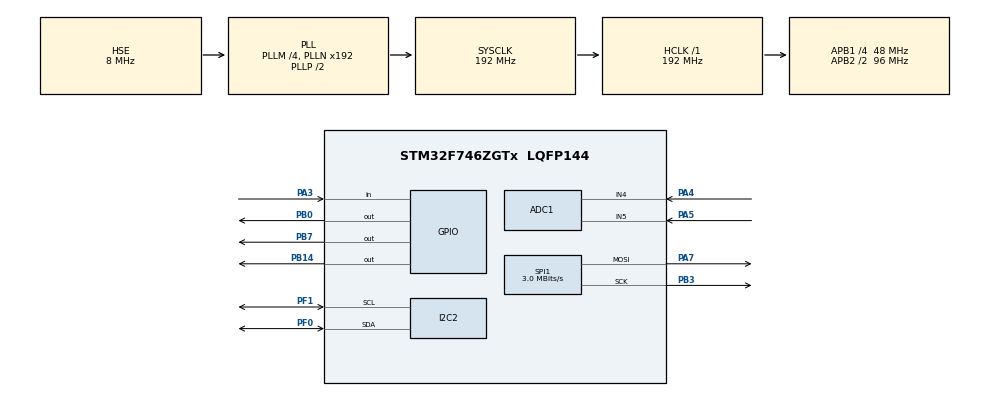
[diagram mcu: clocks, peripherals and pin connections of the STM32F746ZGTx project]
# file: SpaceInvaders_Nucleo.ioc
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ADC1.Channel-6\#ChannelRegularConversion=ADC_CHANNEL_4
ADC1.Channel-7\#ChannelRegularConversion=ADC_CHANNEL_5
ADC1.ClockPrescaler=ADC_CLOCK_SYNC_PCLK_DIV4
ADC1.ContinuousConvMode=ENABLE
ADC1.DMAContinuousRequests=ENABLE
ADC1.NbrOfConversion=2
ADC1.NbrOfConversionFlag=1
ADC1.Rank-6\#ChannelRegularConversion=1
ADC1.Rank-7\#ChannelRegularConversion=2
ADC1.SamplingTime-6\#ChannelRegularConversion=ADC_SAMPLETIME_480CYCLES
ADC1.SamplingTime-7\#ChannelRegularConversion=ADC_SAMPLETIME_480CYCLES
ADC1.ScanConvMode=ADC_SCAN_ENABLE
ADC1.master=1
Dma.ADC1.1.Direction=DMA_PERIPH_TO_MEMORY
Dma.ADC1.1.FIFOMode=DMA_FIFOMODE_DISABLE
Dma.ADC1.1.Instance=DMA2_Stream0
Dma.ADC1.1.MemDataAlignment=DMA_MDATAALIGN_WORD
Dma.ADC1.1.MemInc=DMA_MINC_ENABLE
Dma.ADC1.1.Mode=DMA_CIRCULAR
Dma.ADC1.1.PeriphDataAlignment=DMA_PDATAALIGN_WORD
Dma.ADC1.1.PeriphInc=DMA_PINC_DISABLE
Dma.ADC1.1.Priority=DMA_PRIORITY_LOW
Dma.Request0=SPI1_TX
Dma.Request1=ADC1
Dma.SPI1_TX.0.Direction=DMA_MEMORY_TO_PERIPH
Dma.SPI1_TX.0.FIFOMode=DMA_FIFOMODE_DISABLE
Dma.SPI1_TX.0.Instance=DMA2_Stream3
Dma.SPI1_TX.0.MemDataAlignment=DMA_MDATAALIGN_BYTE
Dma.SPI1_TX.0.MemInc=DMA_MINC_ENABLE
Dma.SPI1_TX.0.Mode=DMA_NORMAL
Dma.SPI1_TX.0.PeriphDataAlignment=DMA_PDATAALIGN_BYTE
Dma.SPI1_TX.0.PeriphInc=DMA_PINC_DISABLE
Dma.SPI1_TX.0.Priority=DMA_PRIORITY_LOW
I2C2.Timing=0x20303E5D
Mcu.Family=STM32F7
Mcu.Name=STM32F746ZGTx
Mcu.Package=LQFP144
NVIC.ADC_IRQn=true\:0\:0\:false\:false\:true\:true\:true
NVIC.DMA2_Stream0_IRQn=true\:0\:0\:false\:false\:true\:false\:true
NVIC.DMA2_Stream3_IRQn=true\:0\:0\:false\:false\:true\:false\:true
NVIC.I2C2_ER_IRQn=true\:0\:0\:false\:false\:true\:true\:true
NVIC.I2C2_EV_IRQn=true\:0\:0\:false\:false\:true\:true\:true
NVIC.PriorityGroup=NVIC_PRIORITYGROUP_4
NVIC.SPI1_IRQn=true\:0\:0\:false\:false\:true\:true\:true
NVIC.TIM1_BRK_TIM9_IRQn=true\:0\:0\:false\:false\:true\:true\:true
NVIC.TIM1_TRG_COM_TIM11_IRQn=true\:0\:0\:false\:false\:true\:true\:true
NVIC.TIM1_UP_TIM10_IRQn=true\:0\:0\:false\:false\:true\:true\:true
NVIC.TIM2_IRQn=true\:0\:0\:false\:false\:true\:true\:true
NVIC.TIM3_IRQn=true\:0\:0\:false\:false\:true\:true\:true
NVIC.TIM4_IRQn=true\:0\:0\:false\:false\:true\:true\:true
NVIC.TIM5_IRQn=true\:0\:0\:false\:false\:true\:true\:true
NVIC.TIM6_DAC_IRQn=true\:0\:0\:false\:false\:true\:true\:true
NVIC.TIM7_IRQn=true\:0\:0\:false\:false\:true\:true\:true
NVIC.TIM8_BRK_TIM12_IRQn=true\:0\:0\:false\:false\:true\:true\:true
NVIC.TIM8_UP_TIM13_IRQn=true\:0\:0\:false\:false\:true\:true\:true
PA13.Mode=Serial_Wire
PA13.Signal=SYS_JTMS-SWDIO
PA14.Mode=Serial_Wire
PA14.Signal=SYS_JTCK-SWCLK
PA3.GPIO_PuPd=GPIO_PULLUP
PA3.Signal=GPIO_Input
PA4.Signal=ADCx_IN4
PA5.Signal=ADCx_IN5
PA7.Mode=TX_Only_Simplex_Unidirect_Master
PA7.Signal=SPI1_MOSI
PB0.Signal=GPIO_Output
PB14.Signal=GPIO_Output
PB3.Mode=TX_Only_Simplex_Unidirect_Master
PB3.Signal=SPI1_SCK
PB7.Signal=GPIO_Output
PF0.Mode=I2C
PF0.Signal=I2C2_SDA
PF1.Mode=I2C
PF1.Signal=I2C2_SCL
PH0/OSC_IN.Mode=HSE-External-Oscillator
PH0/OSC_IN.Signal=RCC_OSC_IN
PH1/OSC_OUT.Mode=HSE-External-Oscillator
PH1/OSC_OUT.Signal=RCC_OSC_OUT
ProjectManager.HeapSize=0x200
ProjectManager.StackSize=0x400
ProjectManager.TargetToolchain=STM32CubeIDE
RCC.AHBFreq_Value=192000000
RCC.APB1CLKDivider=RCC_HCLK_DIV4
RCC.APB1Freq_Value=48000000
RCC.APB1TimFreq_Value=96000000
RCC.APB2CLKDivider=RCC_HCLK_DIV2
RCC.APB2Freq_Value=96000000
RCC.APB2TimFreq_Value=192000000
RCC.CortexFreq_Value=192000000
RCC.HCLKFreq_Value=192000000
RCC.HSE_VALUE=8000000
RCC.HSI_VALUE=16000000
RCC.LSE_VALUE=32768
RCC.PLLM=4
RCC.PLLSourceVirtual=RCC_PLLSOURCE_HSE
RCC.SYSCLKFreq_VALUE=192000000
RCC.SYSCLKSource=RCC_SYSCLKSOURCE_PLLCLK
RCC.USBFreq_Value=192000000
RCC.VCOOutputFreq_Value=384000000
SH.ADCx_IN4.0=ADC1_IN4,IN4
SH.ADCx_IN5.0=ADC1_IN5,IN5
SPI1.BaudRatePrescaler=SPI_BAUDRATEPRESCALER_32
SPI1.CalculateBaudRate=3.0 MBits/s
SPI1.DataSize=SPI_DATASIZE_8BIT
SPI1.Direction=SPI_DIRECTION_2LINES
SPI1.Mode=SPI_MODE_MASTER
SPI1.NSSPMode=SPI_NSS_PULSE_DISABLE
SPI1.VirtualType=VM_MASTER
TIM10.Period=1199
TIM10.Prescaler=9599
TIM11.Period=2599
TIM11.Prescaler=9599
TIM12.Period=6000
TIM12.Prescaler=9599
TIM13.Period=1099
TIM13.Prescaler=9599
TIM2.Period=5499
TIM2.Prescaler=9599
TIM3.Period=39
TIM3.Prescaler=9599
TIM4.Period=2599
TIM4.Prescaler=9599
TIM5.Period=1899
TIM5.Prescaler=9599
TIM6.Period=999
TIM6.Prescaler=9599
TIM7.Period=4799
TIM7.Prescaler=9599
TIM8.Period=18999
TIM8.Prescaler=9599
TIM9.Period=2099
TIM9.Prescaler=9599
VP_TIM10_VS_ClockSourceINT.Mode=Enable_Timer
VP_TIM11_VS_ClockSourceINT.Mode=Enable_Timer
VP_TIM12_VS_ClockSourceINT.Mode=Internal
VP_TIM13_VS_ClockSourceINT.Mode=Enable_Timer
VP_TIM2_VS_ClockSourceINT.Mode=Internal
VP_TIM3_VS_ClockSourceINT.Mode=Internal
VP_TIM4_VS_ClockSourceINT.Mode=Internal
VP_TIM5_VS_ClockSourceINT.Mode=Internal
VP_TIM6_VS_ClockSourceINT.Mode=Enable_Timer
VP_TIM7_VS_ClockSourceINT.Mode=Enable_Timer
VP_TIM8_VS_ClockSourceINT.Mode=Internal
VP_TIM9_VS_ClockSourceINT.Mode=Internal
board=custom

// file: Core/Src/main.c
/* USER CODE BEGIN Header */
/**
 ******************************************************************************
 * @file           : main.c
 * @brief          : Main program body
 ******************************************************************************
 * @attention
 *
 * <h2><center>&copy; Copyright (c) 2020 STMicroelectronics.
 * All rights reserved.</center></h2>
 *
 * This software component is licensed by ST under BSD 3-Clause license,
 * the "License"; You may not use this file except in compliance with the
 * License. You may obtain a copy of the License at:
 *                        opensource.org/licenses/BSD-3-Clause
 *
 ******************************************************************************
 */
/* USER CODE END Header */

#include "main.h"

/* USER CODE BEGIN Includes */
#include "i2c-lcd.h"
#include "lcdchars.h"
#include "lcdcommands.h"
#include "intro.h"
#include "loading.h"
#include "joystick.h"
#include "Menu.h"
#include "stdbool.h"
#include <stdlib.h>
#include <string.h>
#include "ws2812b.h"
#include "spi.h"
#include "dma.h"
#include <time.h>
#include <stdio.h>
#include <stdlib.h>
#include "playerControl.h"
#include "diode.h"
#include "GlobalDefines.h"
#include "playerShootingControl.h"
#include "enemyShootingControl.h"
#include "enemyControl.h"
#include "objectRefresh.h"
#include "game.h"
#include "LCDgameService.h"
#include "gameOver.h"
/* USER CODE END Includes */

ADC_HandleTypeDef hadc1;
DMA_HandleTypeDef hdma_adc1;

I2C_HandleTypeDef hi2c2;

SPI_HandleTypeDef hspi1;
DMA_HandleTypeDef hdma_spi1_tx;

TIM_HandleTypeDef htim2;
TIM_HandleTypeDef htim3;
TIM_HandleTypeDef htim4;
TIM_HandleTypeDef htim5;
TIM_HandleTypeDef htim6;
TIM_HandleTypeDef htim7;
TIM_HandleTypeDef htim8;
TIM_HandleTypeDef htim9;
TIM_HandleTypeDef htim10;
TIM_HandleTypeDef htim11;
TIM_HandleTypeDef htim12;
TIM_HandleTypeDef htim13;

/* USER CODE BEGIN PV */

#define LCD_Clear_1 lcd_clear_1();
#define LCD_Clear_2 lcd_clear_2();
#define LCD_Clear_3 lcd_clear_3();
#define LCD_Clear_4 lcd_clear_4();
#define LCD_CLS_1_8_Lines lcd_clear_1_8_lines();
#define LCD_CLS_2_8_Lines lcd_clear_2_8_lines();
#define LCD_CLS_3_8_Lines lcd_clear_3_8_lines();
#define LCD_CLS_4_8_Lines lcd_clear_4_8_lines();
#define LCD_Clear lcd_cls();
#define LCD_Blink lcd_send_cmd (0x0F);
/* USER CODE END PV */

void SystemClock_Config(void);
static void MX_GPIO_Init(void);
static void MX_I2C2_Init(void);
static void MX_TIM3_Init(void);
static void MX_TIM4_Init(void);
static void MX_TIM2_Init(void);
static void MX_TIM5_Init(void);
static void MX_TIM6_Init(void);
static void MX_TIM7_Init(void);
static void MX_TIM8_Init(void);
static void MX_TIM9_Init(void);
static void MX_TIM10_Init(void);
static void MX_TIM11_Init(void);
static void MX_TIM12_Init(void);
static void MX_TIM13_Init(void);
static void MX_ADC1_Init(void);
/* USER CODE BEGIN PFP */
struct Diode DiodeArray[256];
uint32_t VR[2];
int gameNotStarted_Blue = 0;
bool gameNotStarted_Reverse = true;
void SpaceInvaders_TIM2() {
	if (!gameStarted) {
		MENU_Animation_TIM2();
	} else {
		if (!playerInitialized && !gameOver) {
			initPlayer(VR);
			initPlayerIndex++;
			blockPress = true;
			blockLeft = true;
			blockRight = true;
			if (initPlayerIndex > 2) {
				playerInitialized = true;
				blockPress = false;
				blockLeft = false;
				blockRight = false;
			}
		}
		if (enemyInitialized && !gameOver
				&& (selectedLevel == 'E' || selectedLevel == 'M')) {
			newRound = false;
			switch (selectedLevel) {
			case 'E':
				switch (gameRound) {
				case 1:
					for (int i = 0; i < 45; i++) {
						enemyMovement();
					}
					break;
				case 2:
					for (int i = 0; i < 55; i++) {
						enemyMovement();
					}
					break;
				case 3:
					for (int i = 0; i < 65; i++) {
						enemyMovement();
					}
					break;
				case 4:
					for (int i = 0; i < 75; i++) {
						enemyMovement();
					}
					break;
				case 5:
					for (int i = 0; i < 85; i++) {
						enemyMovement();
					}
					break;
				case 6:
					for (int i = 0; i < 95; i++) {
						enemyMovement();
					}
					break;
				default:
					break;
				}
				break;
			case 'M':
				switch (gameRound) {
				case 1:
					for (int i = 0; i < 65; i++) {
						enemyMovement();
					}
					break;
				case 2:
					for (int i = 0; i < 75; i++) {
						enemyMovement();
					}
					break;
				case 3:
					for (int i = 0; i < 85; i++) {
						enemyMovement();
					}
					break;
				case 4:
					for (int i = 0; i < 95; i++) {
						enemyMovement();
					}
					break;
				case 5:
					for (int i = 0; i < 105; i++) {
						enemyMovement();
					}
					break;
				case 6:
					for (int i = 0; i < 115; i++) {
						enemyMovement();
					}
					break;
				default:
					break;
				}
				break;
			default:
				break;
			}

		} else if (!gameOver && newRound
				&& (selectedLevel == 'E' || selectedLevel == 'M')) {
			enemyInitialization();
		}
		if (gameOver && waitToDisplayTryAgain <= 3) {
			waitToDisplayTryAgain++;
			blockJoystick();
		}
	}
}
void SpaceInvaders_TIM3() {
	if (gameStarted) {

		if (enemyTotalCount < 40 && !gameOver) {
			initEnemy();
		}

		if (!gameOver) {
			LCD_gameStarted();
		}

		if (gameOver && !LCDtriedAgain && waitToDisplayTryAgain == 3) {
			LCD_tryAgain();
		} else if (gameOver && LCDtriedAgain && waitToDisplayTryAgain == 4) {
			tryAgainCheckForSelectedOption();
		}
		if (Press == GPIO_PIN_RESET && waitToDisplayTryAgain == 4) {
			LCDcheckExecuteOption();
		}

		if (enemyInitialized && !gameOver) {
			refreshEnemies();
			refreshBullets();
			checkForPlayerHit();
			checkForRoundOver();
		}
		if (!gameOver && (!blockLeft || !blockRight)) {
			playerPositioning();
			refreshPlayer();
		}
		if (playerStartShot && !gameOver) {
			checkForBulletCollision();
			checkForEnemyHit();
		}

		if (Press == GPIO_PIN_RESET && !playerStartShot && enemyInitialized) {
			if (!gameOver) {
				playerBulletRoute = 0;
				playerStartShot = true;
			} else {
				tryAgain = true;
			}

		}
	}
}
void SpaceInvaders_TIM4() {
	if (!gameStarted) {
		MENU();
	}
}
void SpaceInvaders_TIM5() {
	if (!gameStarted) {
		MENU_Animation_TIM5();
	} else {
		if (enemyInitialized && !gameOver && selectedLevel == 'M') {
			if (enemyActivateShoot_1) {
				enemyShooting_1();
				enemyDiodeShootRoute_1++;
			}
			if (enemyActivateShoot_2) {
				enemyShooting_2();
				enemyDiodeShootRoute_2++;

			}
			if (enemyActivateShoot_3) {
				enemyShooting_3();
				enemyDiodeShootRoute_3++;
			}
			if (enemyActivateShoot_4) {
				enemyShooting_4();
				enemyDiodeShootRoute_4++;
			}
		}
	}
	if (gameStarted) {
		LCD_gameStartedTitleAnimation();
	}
}
void SpaceInvaders_TIM6() {

}
void SpaceInvaders_TIM7() {
	if (gameStarted) {
		playerNewMove = true;
	}
}
void SpaceInvaders_TIM8() {
	if (gameStarted) {
		if (enemyInitialized && !gameOver) {
			newGameTimeCounter++;
		}
	}
	if (gameOver) {
		gameOverDisappear++;
		if (gameOverDisappear == 5) {
			enableGameOver = false;
		}
	}
}
void SpaceInvaders_TIM9() {
	if (gameStarted && selectedLevel == 'E') {
		if (enemyInitialized && !gameOver) {
			if (enemyActivateShoot_1) {
				enemyShooting_1();
				enemyDiodeShootRoute_1++;
			}
			if (enemyActivateShoot_2) {
				enemyShooting_2();
				enemyDiodeShootRoute_2++;

			}
			if (enemyActivateShoot_3) {
				enemyShooting_3();
				enemyDiodeShootRoute_3++;
			}
			if (enemyActivateShoot_4) {
				enemyShooting_4();
				enemyDiodeShootRoute_4++;
			}
		}
	}
}
void SpaceInvaders_TIM10() {
	if (gameStarted) {
		if (enemyInitialized && !gameOver) {
			initEnemyShooting();
		}
		//Player shooting
		if (playerStartShot && !gameOver && enemyInitialized && !newRound) {
			playerShot();
			playerBulletRoute++;
		}
	}
}
void SpaceInvaders_TIM11() {
	if (gameStarted && selectedLevel == 'H') {
		if (enemyInitialized && !gameOver) {
			if (enemyActivateShoot_1) {
				enemyShooting_1();
				enemyDiodeShootRoute_1++;
			}
			if (enemyActivateShoot_2) {
				enemyShooting_2();
				enemyDiodeShootRoute_2++;

			}
			if (enemyActivateShoot_3) {
				enemyShooting_3();
				enemyDiodeShootRoute_3++;
			}
			if (enemyActivateShoot_4) {
				enemyShooting_4();
				enemyDiodeShootRoute_4++;
			}
		}
	}
}
void SpaceInvaders_TIM12() {
	if (gameStarted) {
//				Yes / No
//				animation
		if (gameOver && LCDtriedAgain && waitToDisplayTryAgain == 4) {
			tryAgainSelectedOptionAnimation();
			if (LCDtryAgainAnimationStep == 0) {
				LCDtryAgainAnimationStep++;
			} else if (LCDtryAgainAnimationStep == 1) {
				LCDtryAgainAnimationStep--;
			}
		}
	}
}
void SpaceInvaders_TIM13() {
	if (gameStarted) {
		if (enemyInitialized && !gameOver && selectedLevel == 'H') {
			newRound = false;
			switch (gameRound) {
			case 1:
				for (int i = 0; i < 75; i++) {
					enemyMovement();
				}
				break;
			case 2:
				for (int i = 0; i < 85; i++) {
					enemyMovement();
				}
				break;
			case 3:
				for (int i = 0; i < 95; i++) {
					enemyMovement();
				}
				break;
			case 4:
				for (int i = 0; i < 105; i++) {
					enemyMovement();
				}
				break;
			case 5:
				for (int i = 0; i < 115; i++) {
					enemyMovement();
				}
				break;
			case 6:
				for (int i = 0; i < 125; i++) {
					enemyMovement();
				}
				break;
			default:
				break;
			}

		} else if (!gameOver && newRound && selectedLevel == 'H') {
			enemyInitialization();
		}
	}
}

void gameNotStartedTheme() {
	if (gameNotStarted_Reverse) {
		gameNotStarted_Blue++;
		if (gameNotStarted_Blue == 30) {
			gameNotStarted_Reverse = !gameNotStarted_Reverse;
		}
	} else {
		gameNotStarted_Blue--;
		if (gameNotStarted_Blue == 15) {
			gameNotStarted_Reverse = !gameNotStarted_Reverse;
		}
	}

	setAllPixelColor(0, 0, gameNotStarted_Blue);
}
void HAL_TIM_PeriodElapsedCallback(TIM_HandleTypeDef *htim) {
//PERIOD: 5499
	if (htim->Instance == TIM2) {
		SpaceInvaders_TIM2();

	}

//PERIOD: 299
	if (htim->Instance == TIM3) {
		getJoystickDirection(VR);
		getJoystickLed();
		Press = HAL_GPIO_ReadPin(GPIOA, GPIO_PIN_3);

		SpaceInvaders_TIM3();

	}

//PERIOD: 2599
	if (htim->Instance == TIM4) {
		SpaceInvaders_TIM4();
	}

//PERIOD: 1899
	if (htim->Instance == TIM5) {
		SpaceInvaders_TIM5();
	}
//PERIOD: 999
	if (htim->Instance == TIM6) {
		if (gameStarted) {
			if (!gameOver) {
				for (int i = 0; i < 256; i++)
					theme(i);
			}
			if (enableGameOver) {
				SpaceInvaders_gameOver();
			} else {
				diodeArrayInit();
				for (int i = 0; i < 256; i++)
					theme(i);
			}
		} else {
			gameNotStartedTheme();
		}
	}
//PERIOD: 4799
	if (htim->Instance == TIM7) {
		SpaceInvaders_TIM7();
	}

//1s
	if (htim->Instance == TIM8) {
		SpaceInvaders_TIM8();
	}
	if (htim->Instance == TIM9) {
		SpaceInvaders_TIM9();
	}

//PERIOD: 799
	if (htim->Instance == TIM10) {
		SpaceInvaders_TIM10();
	}
	if (htim->Instance == TIM11) {
		SpaceInvaders_TIM11();
	}
	//PERIOD: 6000
	if (htim->Instance == TIM12) {
		SpaceInvaders_TIM12();
	}
	if (htim->Instance == TIM13) {
		SpaceInvaders_TIM13();
	}
}
/* USER CODE END PFP */

int main(void) {

	/* MCU Configuration--------------------------------------------------------*/

	/* Reset of all peripherals, Initializes the Flash interface and the Systick. */

	HAL_Init();

	/* Configure the system clock */
	SystemClock_Config();

	/* Initialize all configured peripherals */
	MX_GPIO_Init();
	MX_DMA_Init();
	MX_I2C2_Init();
	MX_TIM3_Init();
	MX_TIM4_Init();
	MX_TIM2_Init();
	MX_TIM5_Init();
	MX_SPI1_Init();
	MX_TIM6_Init();
	MX_TIM7_Init();
	MX_TIM8_Init();
	MX_TIM9_Init();
	MX_TIM10_Init();
	MX_TIM11_Init();
	MX_TIM12_Init();
	MX_TIM13_Init();
	MX_ADC1_Init();
	/* USER CODE BEGIN 2 */
	HAL_ADC_Start_DMA(&hadc1, VR, 2);
	lcd_init();
	HAL_TIM_Base_Start_IT(&htim2);
	HAL_TIM_Base_Start_IT(&htim3);
	HAL_TIM_Base_Start_IT(&htim4);
	HAL_TIM_Base_Start_IT(&htim5);
	HAL_TIM_Base_Start_IT(&htim6);
	HAL_TIM_Base_Start_IT(&htim7);
	HAL_TIM_Base_Start_IT(&htim8);
	HAL_TIM_Base_Start_IT(&htim9);
	HAL_TIM_Base_Start_IT(&htim10);
	HAL_TIM_Base_Start_IT(&htim11);
	HAL_TIM_Base_Start_IT(&htim12);
	HAL_TIM_Base_Start_IT(&htim13);
	LCD_Clear
	setAllPixelColor(0, 0, 0);
	diodeArrayInit();
	srand((int) VR[0] + (int) VR[1] + 5);

	/* USER CODE END 2 */

	/* Infinite loop */
	/* USER CODE BEGIN WHILE */
	initLEDMOSI();
	while (1) {

		/* USER CODE END WHILE */

	}
}

void SystemClock_Config(void) {
	RCC_OscInitTypeDef RCC_OscInitStruct = { 0 };
	RCC_ClkInitTypeDef RCC_ClkInitStruct = { 0 };
	RCC_PeriphCLKInitTypeDef PeriphClkInitStruct = { 0 };

	/** Configure the main internal regulator output voltage
	 */
	__HAL_RCC_PWR_CLK_ENABLE();
	__HAL_PWR_VOLTAGESCALING_CONFIG(PWR_REGULATOR_VOLTAGE_SCALE1);
	/** Initializes the CPU, AHB and APB busses clocks
	 */
	RCC_OscInitStruct.OscillatorType = RCC_OSCILLATORTYPE_HSE;
	RCC_OscInitStruct.HSEState = RCC_HSE_ON;
	RCC_OscInitStruct.PLL.PLLState = RCC_PLL_ON;
	RCC_OscInitStruct.PLL.PLLSource = RCC_PLLSOURCE_HSE;
	RCC_OscInitStruct.PLL.PLLM = 4;
	RCC_OscInitStruct.PLL.PLLN = 192;
	RCC_OscInitStruct.PLL.PLLP = RCC_PLLP_DIV2;
	RCC_OscInitStruct.PLL.PLLQ = 2;
	if (HAL_RCC_OscConfig(&RCC_OscInitStruct) != HAL_OK) {
		Error_Handler();
	}
	/** Activate the Over-Drive mode
	 */
	if (HAL_PWREx_EnableOverDrive() != HAL_OK) {
		Error_Handler();
	}
	/** Initializes the CPU, AHB and APB busses clocks
	 */
	RCC_ClkInitStruct.ClockType = RCC_CLOCKTYPE_HCLK | RCC_CLOCKTYPE_SYSCLK
			| RCC_CLOCKTYPE_PCLK1 | RCC_CLOCKTYPE_PCLK2;
	RCC_ClkInitStruct.SYSCLKSource = RCC_SYSCLKSOURCE_PLLCLK;
	RCC_ClkInitStruct.AHBCLKDivider = RCC_SYSCLK_DIV1;
	RCC_ClkInitStruct.APB1CLKDivider = RCC_HCLK_DIV4;
	RCC_ClkInitStruct.APB2CLKDivider = RCC_HCLK_DIV2;

	if (HAL_RCC_ClockConfig(&RCC_ClkInitStruct, FLASH_LATENCY_6) != HAL_OK) {
		Error_Handler();
	}
	PeriphClkInitStruct.PeriphClockSelection = RCC_PERIPHCLK_I2C2;
	PeriphClkInitStruct.I2c2ClockSelection = RCC_I2C2CLKSOURCE_PCLK1;
	if (HAL_RCCEx_PeriphCLKConfig(&PeriphClkInitStruct) != HAL_OK) {
		Error_Handler();
	}
}

static void MX_ADC1_Init(void) {

	ADC_ChannelConfTypeDef sConfig = { 0 };

	/** Configure the global features of the ADC (Clock, Resolution, Data Alignment and number of conversion)
	 */
	hadc1.Instance = ADC1;
	hadc1.Init.ClockPrescaler = ADC_CLOCK_SYNC_PCLK_DIV4;
	hadc1.Init.Resolution = ADC_RESOLUTION_12B;
	hadc1.Init.ScanConvMode = ADC_SCAN_ENABLE;
	hadc1.Init.ContinuousConvMode = ENABLE;
	hadc1.Init.DiscontinuousConvMode = DISABLE;
	hadc1.Init.ExternalTrigConvEdge = ADC_EXTERNALTRIGCONVEDGE_NONE;
	hadc1.Init.ExternalTrigConv = ADC_SOFTWARE_START;
	hadc1.Init.DataAlign = ADC_DATAALIGN_RIGHT;
	hadc1.Init.NbrOfConversion = 2;
	hadc1.Init.DMAContinuousRequests = ENABLE;
	hadc1.Init.EOCSelection = ADC_EOC_SINGLE_CONV;
	if (HAL_ADC_Init(&hadc1) != HAL_OK) {
		Error_Handler();
	}
	/** Configure for the selected ADC regular channel its corresponding rank in the sequencer and its sample time.
	 */
	sConfig.Channel = ADC_CHANNEL_4;
	sConfig.Rank = ADC_REGULAR_RANK_1;
	sConfig.SamplingTime = ADC_SAMPLETIME_480CYCLES;
	if (HAL_ADC_ConfigChannel(&hadc1, &sConfig) != HAL_OK) {
		Error_Handler();
	}
	/** Configure for the selected ADC regular channel its corresponding rank in the sequencer and its sample time.
	 */
	sConfig.Channel = ADC_CHANNEL_5;
	sConfig.Rank = ADC_REGULAR_RANK_2;
	if (HAL_ADC_ConfigChannel(&hadc1, &sConfig) != HAL_OK) {
		Error_Handler();
	}

}

static void MX_I2C2_Init(void) {

	hi2c2.Instance = I2C2;
	hi2c2.Init.Timing = 0x20303E5D;
	hi2c2.Init.OwnAddress1 = 0;
	hi2c2.Init.AddressingMode = I2C_ADDRESSINGMODE_7BIT;
	hi2c2.Init.DualAddressMode = I2C_DUALADDRESS_DISABLE;
	hi2c2.Init.OwnAddress2 = 0;
	hi2c2.Init.OwnAddress2Masks = I2C_OA2_NOMASK;
	hi2c2.Init.GeneralCallMode = I2C_GENERALCALL_DISABLE;
	hi2c2.Init.NoStretchMode = I2C_NOSTRETCH_DISABLE;
	if (HAL_I2C_Init(&hi2c2) != HAL_OK) {
		Error_Handler();
	}
	/** Configure Analogue filter
	 */
	if (HAL_I2CEx_ConfigAnalogFilter(&hi2c2, I2C_ANALOGFILTER_ENABLE)
			!= HAL_OK) {
		Error_Handler();
	}
	/** Configure Digital filter
	 */
	if (HAL_I2CEx_ConfigDigitalFilter(&hi2c2, 0) != HAL_OK) {
		Error_Handler();
	}

}

static void MX_TIM2_Init(void) {

	TIM_ClockConfigTypeDef sClockSourceConfig = { 0 };
	TIM_MasterConfigTypeDef sMasterConfig = { 0 };

	htim2.Instance = TIM2;
	htim2.Init.Prescaler = 9599;
	htim2.Init.CounterMode = TIM_COUNTERMODE_UP;
	htim2.Init.Period = 5499;
	htim2.Init.ClockDivision = TIM_CLOCKDIVISION_DIV1;
	htim2.Init.AutoReloadPreload = TIM_AUTORELOAD_PRELOAD_DISABLE;
	if (HAL_TIM_Base_Init(&htim2) != HAL_OK) {
		Error_Handler();
	}
	sClockSourceConfig.ClockSource = TIM_CLOCKSOURCE_INTERNAL;
	if (HAL_TIM_ConfigClockSource(&htim2, &sClockSourceConfig) != HAL_OK) {
		Error_Handler();
	}
	sMasterConfig.MasterOutputTrigger = TIM_TRGO_RESET;
	sMasterConfig.MasterSlaveMode = TIM_MASTERSLAVEMODE_DISABLE;
	if (HAL_TIMEx_MasterConfigSynchronization(&htim2, &sMasterConfig)
			!= HAL_OK) {
		Error_Handler();
	}

}

static void MX_TIM3_Init(void) {

	TIM_ClockConfigTypeDef sClockSourceConfig = { 0 };
	TIM_MasterConfigTypeDef sMasterConfig = { 0 };

	htim3.Instance = TIM3;
	htim3.Init.Prescaler = 9599;
	htim3.Init.CounterMode = TIM_COUNTERMODE_UP;
	htim3.Init.Period = 19;
	htim3.Init.ClockDivision = TIM_CLOCKDIVISION_DIV1;
	htim3.Init.AutoReloadPreload = TIM_AUTORELOAD_PRELOAD_DISABLE;
	if (HAL_TIM_Base_Init(&htim3) != HAL_OK) {
		Error_Handler();
	}
	sClockSourceConfig.ClockSource = TIM_CLOCKSOURCE_INTERNAL;
	if (HAL_TIM_ConfigClockSource(&htim3, &sClockSourceConfig) != HAL_OK) {
		Error_Handler();
	}
	sMasterConfig.MasterOutputTrigger = TIM_TRGO_RESET;
	sMasterConfig.MasterSlaveMode = TIM_MASTERSLAVEMODE_DISABLE;
	if (HAL_TIMEx_MasterConfigSynchronization(&htim3, &sMasterConfig)
			!= HAL_OK) {
		Error_Handler();
	}

}

static void MX_TIM4_Init(void) {

	TIM_ClockConfigTypeDef sClockSourceConfig = { 0 };
	TIM_MasterConfigTypeDef sMasterConfig = { 0 };

	htim4.Instance = TIM4;
	htim4.Init.Prescaler = 9599;
	htim4.Init.CounterMode = TIM_COUNTERMODE_UP;
	htim4.Init.Period = 2599;
	htim4.Init.ClockDivision = TIM_CLOCKDIVISION_DIV1;
	htim4.Init.AutoReloadPreload = TIM_AUTORELOAD_PRELOAD_DISABLE;
	if (HAL_TIM_Base_Init(&htim4) != HAL_OK) {
		Error_Handler();
	}
	sClockSourceConfig.ClockSource = TIM_CLOCKSOURCE_INTERNAL;
	if (HAL_TIM_ConfigClockSource(&htim4, &sClockSourceConfig) != HAL_OK) {
		Error_Handler();
	}
	sMasterConfig.MasterOutputTrigger = TIM_TRGO_RESET;
	sMasterConfig.MasterSlaveMode = TIM_MASTERSLAVEMODE_DISABLE;
	if (HAL_TIMEx_MasterConfigSynchronization(&htim4, &sMasterConfig)
			!= HAL_OK) {
		Error_Handler();
	}

}

static void MX_TIM5_Init(void) {

	TIM_ClockConfigTypeDef sClockSourceConfig = { 0 };
	TIM_MasterConfigTypeDef sMasterConfig = { 0 };

	htim5.Instance = TIM5;
	htim5.Init.Prescaler = 9599;
	htim5.Init.CounterMode = TIM_COUNTERMODE_UP;
	htim5.Init.Period = 1899;
	htim5.Init.ClockDivision = TIM_CLOCKDIVISION_DIV1;
	htim5.Init.AutoReloadPreload = TIM_AUTORELOAD_PRELOAD_DISABLE;
	if (HAL_TIM_Base_Init(&htim5) != HAL_OK) {
		Error_Handler();
	}
	sClockSourceConfig.ClockSource = TIM_CLOCKSOURCE_INTERNAL;
	if (HAL_TIM_ConfigClockSource(&htim5, &sClockSourceConfig) != HAL_OK) {
		Error_Handler();
	}
	sMasterConfig.MasterOutputTrigger = TIM_TRGO_RESET;
	sMasterConfig.MasterSlaveMode = TIM_MASTERSLAVEMODE_DISABLE;
	if (HAL_TIMEx_MasterConfigSynchronization(&htim5, &sMasterConfig)
			!= HAL_OK) {
		Error_Handler();
	}

}

static void MX_TIM6_Init(void) {

	TIM_MasterConfigTypeDef sMasterConfig = { 0 };

	htim6.Instance = TIM6;
	htim6.Init.Prescaler = 9599;
	htim6.Init.CounterMode = TIM_COUNTERMODE_UP;
	htim6.Init.Period = 999;
	htim6.Init.AutoReloadPreload = TIM_AUTORELOAD_PRELOAD_DISABLE;
	if (HAL_TIM_Base_Init(&htim6) != HAL_OK) {
		Error_Handler();
	}
	sMasterConfig.MasterOutputTrigger = TIM_TRGO_RESET;
	sMasterConfig.MasterSlaveMode = TIM_MASTERSLAVEMODE_DISABLE;
	if (HAL_TIMEx_MasterConfigSynchronization(&htim6, &sMasterConfig)
			!= HAL_OK) {
		Error_Handler();
	}

}

static void MX_TIM7_Init(void) {

	TIM_MasterConfigTypeDef sMasterConfig = { 0 };

	htim7.Instance = TIM7;
	htim7.Init.Prescaler = 9599;
	htim7.Init.CounterMode = TIM_COUNTERMODE_UP;
	htim7.Init.Period = 4799;
	htim7.Init.AutoReloadPreload = TIM_AUTORELOAD_PRELOAD_DISABLE;
	if (HAL_TIM_Base_Init(&htim7) != HAL_OK) {
		Error_Handler();
	}
	sMasterConfig.MasterOutputTrigger = TIM_TRGO_RESET;
	sMasterConfig.MasterSlaveMode = TIM_MASTERSLAVEMODE_DISABLE;
	if (HAL_TIMEx_MasterConfigSynchronization(&htim7, &sMasterConfig)
			!= HAL_OK) {
		Error_Handler();
	}

}

static void MX_TIM8_Init(void) {

	TIM_ClockConfigTypeDef sClockSourceConfig = { 0 };
	TIM_MasterConfigTypeDef sMasterConfig = { 0 };

	htim8.Instance = TIM8;
	htim8.Init.Prescaler = 9599;
	htim8.Init.CounterMode = TIM_COUNTERMODE_UP;
	htim8.Init.Period = 18999;
	htim8.Init.ClockDivision = TIM_CLOCKDIVISION_DIV1;
	htim8.Init.RepetitionCounter = 0;
	htim8.Init.AutoReloadPreload = TIM_AUTORELOAD_PRELOAD_DISABLE;
	if (HAL_TIM_Base_Init(&htim8) != HAL_OK) {
		Error_Handler();
	}
	sClockSourceConfig.ClockSource = TIM_CLOCKSOURCE_INTERNAL;
	if (HAL_TIM_ConfigClockSource(&htim8, &sClockSourceConfig) != HAL_OK) {
		Error_Handler();
	}
	sMasterConfig.MasterOutputTrigger = TIM_TRGO_RESET;
	sMasterConfig.MasterOutputTrigger2 = TIM_TRGO2_RESET;
	sMasterConfig.MasterSlaveMode = TIM_MASTERSLAVEMODE_DISABLE;
	if (HAL_TIMEx_MasterConfigSynchronization(&htim8, &sMasterConfig)
			!= HAL_OK) {
		Error_Handler();
	}

}

static void MX_TIM9_Init(void) {

	TIM_ClockConfigTypeDef sClockSourceConfig = { 0 };

	htim9.Instance = TIM9;
	htim9.Init.Prescaler = 9599;
	htim9.Init.CounterMode = TIM_COUNTERMODE_UP;
	htim9.Init.Period = 5699;
	htim9.Init.ClockDivision = TIM_CLOCKDIVISION_DIV1;
	htim9.Init.AutoReloadPreload = TIM_AUTORELOAD_PRELOAD_DISABLE;
	if (HAL_TIM_Base_Init(&htim9) != HAL_OK) {
		Error_Handler();
	}
	sClockSourceConfig.ClockSource = TIM_CLOCKSOURCE_INTERNAL;
	if (HAL_TIM_ConfigClockSource(&htim9, &sClockSourceConfig) != HAL_OK) {
		Error_Handler();
	}

}

static void MX_TIM10_Init(void) {

	htim10.Instance = TIM10;
	htim10.Init.Prescaler = 9599;
	htim10.Init.CounterMode = TIM_COUNTERMODE_UP;
	htim10.Init.Period = 1199;
	htim10.Init.ClockDivision = TIM_CLOCKDIVISION_DIV1;
	htim10.Init.AutoReloadPreload = TIM_AUTORELOAD_PRELOAD_DISABLE;
	if (HAL_TIM_Base_Init(&htim10) != HAL_OK) {
		Error_Handler();
	}

}

static void MX_TIM11_Init(void) {

	htim11.Instance = TIM11;
	htim11.Init.Prescaler = 9599;
	htim11.Init.CounterMode = TIM_COUNTERMODE_UP;
	htim11.Init.Period = 1899;
	htim11.Init.ClockDivision = TIM_CLOCKDIVISION_DIV1;
	htim11.Init.AutoReloadPreload = TIM_AUTORELOAD_PRELOAD_DISABLE;
	if (HAL_TIM_Base_Init(&htim11) != HAL_OK) {
		Error_Handler();
	}

}

static void MX_TIM12_Init(void) {

	TIM_ClockConfigTypeDef sClockSourceConfig = { 0 };

	htim12.Instance = TIM12;
	htim12.Init.Prescaler = 9599;
	htim12.Init.CounterMode = TIM_COUNTERMODE_UP;
	htim12.Init.Period = 6000;
	htim12.Init.ClockDivision = TIM_CLOCKDIVISION_DIV1;
	htim12.Init.AutoReloadPreload = TIM_AUTORELOAD_PRELOAD_DISABLE;
	if (HAL_TIM_Base_Init(&htim12) != HAL_OK) {
		Error_Handler();
	}
	sClockSourceConfig.ClockSource = TIM_CLOCKSOURCE_INTERNAL;
	if (HAL_TIM_ConfigClockSource(&htim12, &sClockSourceConfig) != HAL_OK) {
		Error_Handler();
	}

}

static void MX_TIM13_Init(void) {

	htim13.Instance = TIM13;
	htim13.Init.Prescaler = 9599;
	htim13.Init.CounterMode = TIM_COUNTERMODE_UP;
	htim13.Init.Period = 4199;
	htim13.Init.ClockDivision = TIM_CLOCKDIVISION_DIV1;
	htim13.Init.AutoReloadPreload = TIM_AUTORELOAD_PRELOAD_DISABLE;
	if (HAL_TIM_Base_Init(&htim13) != HAL_OK) {
		Error_Handler();
	}

}
static void MX_GPIO_Init(void) {
	GPIO_InitTypeDef GPIO_InitStruct = { 0 };

	/* GPIO Ports Clock Enable */
	__HAL_RCC_GPIOF_CLK_ENABLE();
	__HAL_RCC_GPIOH_CLK_ENABLE();
	__HAL_RCC_GPIOA_CLK_ENABLE();
	__HAL_RCC_GPIOB_CLK_ENABLE();

	/*Configure GPIO pin Output Level */
	HAL_GPIO_WritePin(GPIOB, GPIO_PIN_0 | GPIO_PIN_14 | GPIO_PIN_7,
			GPIO_PIN_RESET);

	/*Configure GPIO pin : PA3 */
	GPIO_InitStruct.Pin = GPIO_PIN_3;
	GPIO_InitStruct.Mode = GPIO_MODE_INPUT;
	GPIO_InitStruct.Pull = GPIO_PULLUP;
	HAL_GPIO_Init(GPIOA, &GPIO_InitStruct);

	/*Configure GPIO pins : PB0 PB14 PB7 */
	GPIO_InitStruct.Pin = GPIO_PIN_0 | GPIO_PIN_14 | GPIO_PIN_7;
	GPIO_InitStruct.Mode = GPIO_MODE_OUTPUT_PP;
	GPIO_InitStruct.Pull = GPIO_NOPULL;
	GPIO_InitStruct.Speed = GPIO_SPEED_FREQ_LOW;
	HAL_GPIO_Init(GPIOB, &GPIO_InitStruct);

}

void Error_Handler(void) {
}

/************************ (C) COPYRIGHT STMicroelectronics *****END OF FILE****/
